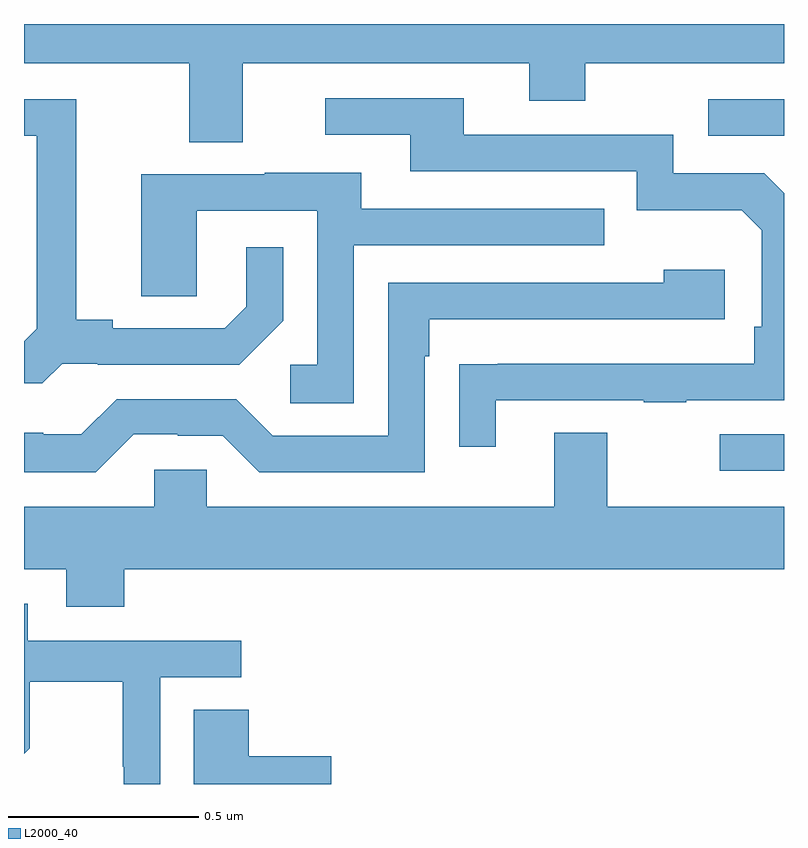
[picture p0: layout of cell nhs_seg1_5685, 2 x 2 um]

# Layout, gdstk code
import gdstk
lib = gdstk.Library(unit=1e-6, precision=1e-09)
def R(c, l, rs):  # rectangles x0, y0, x1, y1
    for r in rs: c.add(gdstk.rectangle(r[:2], r[2:], *l))
def P(c, l, *ps):  # polygons
    for p in ps: c.add(gdstk.Polygon(p, *l))
L2000_40 = (2000, 40)

nhs_seg1_5685 = lib.new_cell('nhs_seg1_5685')
R(nhs_seg1_5685, L2000_40, [(183.831,520.023,184,520.119), (183.801,520.905,184,521.001)])
P(nhs_seg1_5685, L2000_40, [(182.575,521.096),(183.329,521.096),(183.329,520.997),(183.477,520.997),(183.477,521.096),(184,521.096),(184,521.199),(182,521.199),(182,521.096),(182.435,521.096),(182.435,520.888),(182.575,520.888)],
  [(183.241,520.209),(183.631,520.209),(183.631,520.204),(183.743,520.204),(183.743,520.209),(184,520.209),(184,520.754),(183.948,520.806),(183.708,520.806),(183.708,520.908),(183.157,520.908),(183.157,521.004),(182.793,521.004),(182.793,520.908),(183.017,520.908),(183.017,520.812),(183.612,520.812),(183.612,520.709),(183.889,520.709),(183.942,520.656),(183.942,520.402),(183.922,520.402),(183.922,520.305),(183.247,520.305),(183.247,520.304),(183.145,520.304),(183.145,520.086),(183.241,520.086)],
  [(182.1,520.305),(182.194,520.305),(182.194,520.302),(182.566,520.302),(182.682,520.418),(182.682,520.612),(182.585,520.612),(182.585,520.455),(182.528,520.398),(182.233,520.398),(182.233,520.421),(182.137,520.421),(182.137,521.001),(182,521.001),(182,520.905),(182.033,520.905),(182.033,520.397),(182,520.364),(182,520.253),(182.048,520.253)],
  [(182.868,520.617),(183.527,520.617),(183.527,520.713),(182.887,520.713),(182.887,520.807),(182.633,520.807),(182.633,520.803),(182.309,520.803),(182.309,520.483),(182.454,520.483),(182.454,520.707),(182.772,520.707),(182.772,520.302),(182.7,520.302),(182.7,520.201),(182.868,520.201)],
  [(182.289,520.119),(182.405,520.119),(182.405,520.116),(182.523,520.116),(182.619,520.02),(183.054,520.02),(183.054,520.325),(183.067,520.325),(183.067,520.422),(183.844,520.422),(183.844,520.552),(183.683,520.552),(183.683,520.518),(182.958,520.518),(182.958,520.116),(182.655,520.116),(182.559,520.212),(182.244,520.212),(182.151,520.119),(182.051,520.119),(182.051,520.123),(182,520.123),(182,520.019),(182.189,520.019)],
  [(183.395,520.123),(183.395,519.928),(182.481,519.928),(182.481,520.026),(182.343,520.026),(182.343,519.928),(182,519.928),(182,519.764),(182.111,519.764),(182.111,519.665),(182.264,519.665),(182.264,519.764),(184,519.764),(184,519.928),(183.535,519.928),(183.535,520.123)],
  [(182.358,519.48),(182.572,519.48),(182.572,519.576),(182.01,519.576),(182.01,519.673),(182,519.673),(182,519.278),(182.015,519.293),(182.015,519.468),(182.26,519.468),(182.26,519.244),(182.262,519.244),(182.262,519.199),(182.358,519.199)],
  [(182.809,519.272),(182.591,519.272),(182.591,519.395),(182.447,519.395),(182.447,519.199),(182.809,519.199)])

lib.write_gds('nhs_seg1_5685.gds')
